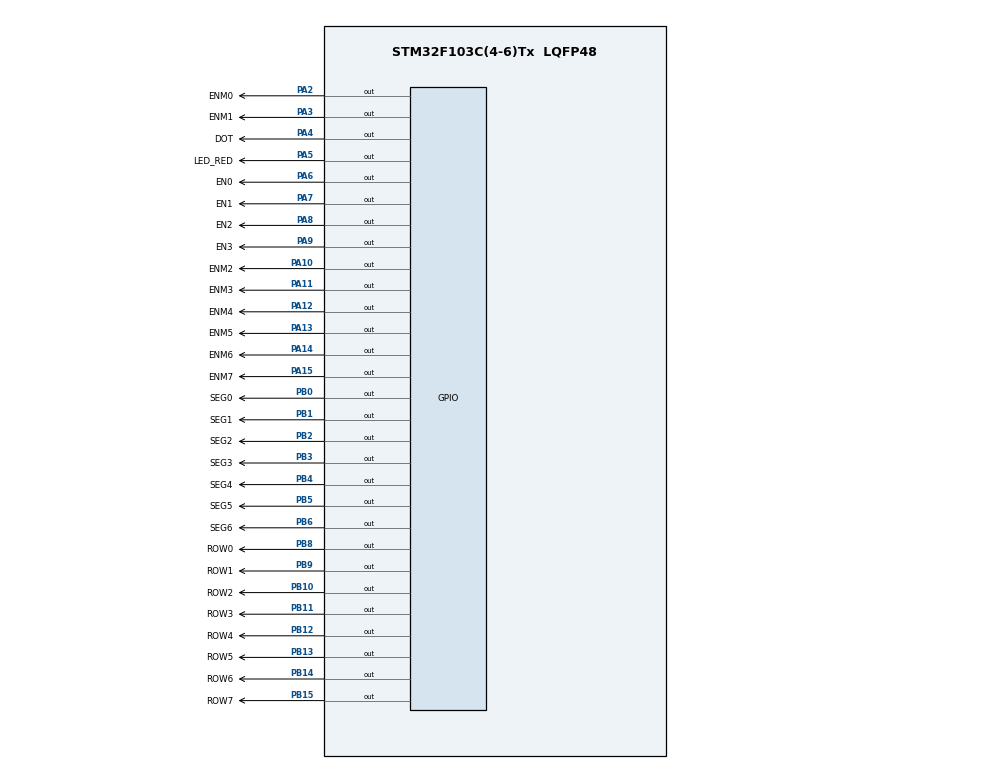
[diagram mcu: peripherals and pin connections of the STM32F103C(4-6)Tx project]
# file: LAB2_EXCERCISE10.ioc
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Mcu.Family=STM32F1
Mcu.Name=STM32F103C(4-6)Tx
Mcu.Package=LQFP48
NVIC.PriorityGroup=NVIC_PRIORITYGROUP_4
NVIC.TIM2_IRQn=true\:0\:0\:false\:false\:true\:true\:true
PA10.GPIO_Label=ENM2
PA10.Signal=GPIO_Output
PA11.GPIO_Label=ENM3
PA11.Signal=GPIO_Output
PA12.GPIO_Label=ENM4
PA12.Signal=GPIO_Output
PA13.GPIO_Label=ENM5
PA13.Signal=GPIO_Output
PA14.GPIO_Label=ENM6
PA14.Signal=GPIO_Output
PA15.GPIO_Label=ENM7
PA15.Signal=GPIO_Output
PA2.GPIO_Label=ENM0
PA2.Signal=GPIO_Output
PA3.GPIO_Label=ENM1
PA3.Signal=GPIO_Output
PA4.GPIO_Label=DOT
PA4.Signal=GPIO_Output
PA5.GPIO_Label=LED_RED
PA5.Signal=GPIO_Output
PA6.GPIO_Label=EN0
PA6.Signal=GPIO_Output
PA7.GPIO_Label=EN1
PA7.Signal=GPIO_Output
PA8.GPIO_Label=EN2
PA8.Signal=GPIO_Output
PA9.GPIO_Label=EN3
PA9.Signal=GPIO_Output
PB0.GPIO_Label=SEG0
PB0.Signal=GPIO_Output
PB1.GPIO_Label=SEG1
PB1.Signal=GPIO_Output
PB10.GPIO_Label=ROW2
PB10.Signal=GPIO_Output
PB11.GPIO_Label=ROW3
PB11.Signal=GPIO_Output
PB12.GPIO_Label=ROW4
PB12.Signal=GPIO_Output
PB13.GPIO_Label=ROW5
PB13.Signal=GPIO_Output
PB14.GPIO_Label=ROW6
PB14.Signal=GPIO_Output
PB15.GPIO_Label=ROW7
PB15.Signal=GPIO_Output
PB2.GPIO_Label=SEG2
PB2.Signal=GPIO_Output
PB3.GPIO_Label=SEG3
PB3.Signal=GPIO_Output
PB4.GPIO_Label=SEG4
PB4.Signal=GPIO_Output
PB5.GPIO_Label=SEG5
PB5.Signal=GPIO_Output
PB6.GPIO_Label=SEG6
PB6.Signal=GPIO_Output
PB8.GPIO_Label=ROW0
PB8.Signal=GPIO_Output
PB9.GPIO_Label=ROW1
PB9.Signal=GPIO_Output
ProjectManager.HeapSize=0x200
ProjectManager.StackSize=0x400
ProjectManager.TargetToolchain=STM32CubeIDE
RCC.APB1Freq_Value=8000000
RCC.APB2Freq_Value=8000000
TIM2.Period=9
TIM2.Prescaler=7999
VP_SYS_VS_ND.Mode=No_Debug
VP_TIM2_VS_ClockSourceINT.Mode=Internal
board=custom

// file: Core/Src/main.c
/* USER CODE BEGIN Header */
/**
  ******************************************************************************
  * @file           : main.c
  * @brief          : Main program body
  ******************************************************************************
  * @attention
  *
  * <h2><center>&copy; Copyright (c) 2025 STMicroelectronics.
  * All rights reserved.</center></h2>
  *
  * This software component is licensed by ST under BSD 3-Clause license,
  * the "License"; You may not use this file except in compliance with the
  * License. You may obtain a copy of the License at:
  *                        opensource.org/licenses/BSD-3-Clause
  *
  ******************************************************************************
  */
/* USER CODE END Header */
#include "main.h"

/* USER CODE BEGIN Includes */
#include "software_timer.h"
/* USER CODE END Includes */

TIM_HandleTypeDef htim2;

void SystemClock_Config(void);
static void MX_GPIO_Init(void);
static void MX_TIM2_Init(void);

/* USER CODE BEGIN 0 */
int led_buffer[4] = {1, 2, 3, 4};
int hour = 23, minute = 59, second = 55;
const int MAX_LED = 4;
const int MAX_LED_MATRIX = 8;
int index_led_matrix = 0;
int t=0;

uint8_t V[10] = {0xFF,0xFF,0xFF, 0xC0, 0x9F, 0x3F, 0x3F, 0x9F, 0xC0, 0xFF};

uint16_t list_ENM[8] = {ENM0_Pin, ENM1_Pin, ENM2_Pin, ENM3_Pin,
						ENM4_Pin, ENM5_Pin, ENM6_Pin, ENM7_Pin};
void updateLEDMatrix(int index){
	for(int i =0; i < MAX_LED_MATRIX; i++)
		HAL_GPIO_WritePin(GPIOA, list_ENM[i], GPIO_PIN_SET);
	HAL_GPIO_WritePin(GPIOA, list_ENM[index], GPIO_PIN_RESET);
	for(int i =0; i < MAX_LED_MATRIX; ++i){
			HAL_GPIO_WritePin(GPIOB, ROW0_Pin << i, (V[(index+t)%10] >> i) & 0x01);
	}
}

void display7SEG(int num) {
	char segNumber[10] = {0xC0, 0xF9, 0xA4, 0xB0, 0x99, 0x92, 0x82, 0xF8, 0x80, 0x90};
	for (int i = 0; i < 7; ++i) {
		HAL_GPIO_WritePin(GPIOB, GPIO_PIN_0 << i, (segNumber[num] >> i) & 1);
	}
	t = (t+1)% 24;
}

void update7SEG(int index){
 for(int i=0; i< MAX_LED; i++)
	 HAL_GPIO_WritePin(GPIOA, EN0_Pin << i, GPIO_PIN_SET);
 HAL_GPIO_WritePin(GPIOA, EN0_Pin << index, GPIO_PIN_RESET);
 display7SEG(led_buffer[index]);
}
void  updateClockBuffer(){
	led_buffer[0] = hour/10;
	led_buffer[1] = hour%10;
	led_buffer[2] = minute/10;
	led_buffer[3] = minute%10;
}

/* USER CODE END 0 */

int main(void)
{

  /* MCU Configuration--------------------------------------------------------*/

  /* Reset of all peripherals, Initializes the Flash interface and the Systick. */
  HAL_Init();

  /* Configure the system clock */
  SystemClock_Config();

  /* Initialize all configured peripherals */
  MX_GPIO_Init();
  MX_TIM2_Init();
  /* USER CODE BEGIN 2 */
  HAL_TIM_Base_Start_IT(&htim2);
  setTimer1(250);
    setTimer2(1000);
    setTimer3(100);
    int index_led = 0;

  	for(int i=0; i< MAX_LED; i++)
  		HAL_GPIO_WritePin(GPIOA, EN0_Pin << i, GPIO_PIN_SET);
  	for(int i =0; i < MAX_LED_MATRIX; i++)
  		HAL_GPIO_WritePin(GPIOA, list_ENM[i], GPIO_PIN_SET);
  	HAL_GPIO_WritePin(GPIOA, LED_RED_Pin, GPIO_PIN_SET);
  	HAL_GPIO_WritePin(GPIOA, DOT_Pin, GPIO_PIN_SET);
  /* USER CODE END 2 */

  /* Infinite loop */
  while (1)
  {
	  updateClockBuffer();
	  	  if(timer2_flag == 1){
	  		  //TODO
	  		  if (second >= 60){
	  			   second = 0;
	  			   minute++;
	  		   }
	  		  if (minute >= 60){
	  			  minute = 0;
	  			  hour++;
	  		  }
	  		  if(hour >= 24) hour = 0;
	  		  updateClockBuffer();
	  		  setTimer2(1000);
	  		  second++;
	  	  }
	  	  if(timer1_flag == 1){
	  		  setTimer1(250); // 4 led sáng xong là 1s
	  		  //TODO
	  		  HAL_GPIO_TogglePin(GPIOA, LED_RED_Pin);
	  		  update7SEG(index_led++);
	  		  // khi sáng hết 4 led thì DOT đảo
	  		  if(index_led == MAX_LED) HAL_GPIO_TogglePin(GPIOA, DOT_Pin);
	  		  index_led = index_led % MAX_LED;
	  	  }

	  	  if(timer3_flag == 1){
	  		  updateLEDMatrix(index_led_matrix++);
	  		  index_led_matrix = index_led_matrix % MAX_LED_MATRIX;
	  		  setTimer3(100);
	  	  }
  }
}

void SystemClock_Config(void)
{
  RCC_OscInitTypeDef RCC_OscInitStruct = {0};
  RCC_ClkInitTypeDef RCC_ClkInitStruct = {0};

  /** Initializes the RCC Oscillators according to the specified parameters
  * in the RCC_OscInitTypeDef structure.
  */
  RCC_OscInitStruct.OscillatorType = RCC_OSCILLATORTYPE_HSI;
  RCC_OscInitStruct.HSIState = RCC_HSI_ON;
  RCC_OscInitStruct.HSICalibrationValue = RCC_HSICALIBRATION_DEFAULT;
  RCC_OscInitStruct.PLL.PLLState = RCC_PLL_NONE;
  if (HAL_RCC_OscConfig(&RCC_OscInitStruct) != HAL_OK)
  {
    Error_Handler();
  }
  /** Initializes the CPU, AHB and APB buses clocks
  */
  RCC_ClkInitStruct.ClockType = RCC_CLOCKTYPE_HCLK|RCC_CLOCKTYPE_SYSCLK
                              |RCC_CLOCKTYPE_PCLK1|RCC_CLOCKTYPE_PCLK2;
  RCC_ClkInitStruct.SYSCLKSource = RCC_SYSCLKSOURCE_HSI;
  RCC_ClkInitStruct.AHBCLKDivider = RCC_SYSCLK_DIV1;
  RCC_ClkInitStruct.APB1CLKDivider = RCC_HCLK_DIV1;
  RCC_ClkInitStruct.APB2CLKDivider = RCC_HCLK_DIV1;

  if (HAL_RCC_ClockConfig(&RCC_ClkInitStruct, FLASH_LATENCY_0) != HAL_OK)
  {
    Error_Handler();
  }
}

static void MX_TIM2_Init(void)
{

  TIM_ClockConfigTypeDef sClockSourceConfig = {0};
  TIM_MasterConfigTypeDef sMasterConfig = {0};

  htim2.Instance = TIM2;
  htim2.Init.Prescaler = 7999;
  htim2.Init.CounterMode = TIM_COUNTERMODE_UP;
  htim2.Init.Period = 9;
  htim2.Init.ClockDivision = TIM_CLOCKDIVISION_DIV1;
  htim2.Init.AutoReloadPreload = TIM_AUTORELOAD_PRELOAD_DISABLE;
  if (HAL_TIM_Base_Init(&htim2) != HAL_OK)
  {
    Error_Handler();
  }
  sClockSourceConfig.ClockSource = TIM_CLOCKSOURCE_INTERNAL;
  if (HAL_TIM_ConfigClockSource(&htim2, &sClockSourceConfig) != HAL_OK)
  {
    Error_Handler();
  }
  sMasterConfig.MasterOutputTrigger = TIM_TRGO_RESET;
  sMasterConfig.MasterSlaveMode = TIM_MASTERSLAVEMODE_DISABLE;
  if (HAL_TIMEx_MasterConfigSynchronization(&htim2, &sMasterConfig) != HAL_OK)
  {
    Error_Handler();
  }

}

static void MX_GPIO_Init(void)
{
  GPIO_InitTypeDef GPIO_InitStruct = {0};

  /* GPIO Ports Clock Enable */
  __HAL_RCC_GPIOA_CLK_ENABLE();
  __HAL_RCC_GPIOB_CLK_ENABLE();

  /*Configure GPIO pin Output Level */
  HAL_GPIO_WritePin(GPIOA, ENM0_Pin|ENM1_Pin|DOT_Pin|LED_RED_Pin
                          |EN0_Pin|EN1_Pin|EN2_Pin|EN3_Pin
                          |ENM2_Pin|ENM3_Pin|ENM4_Pin|ENM5_Pin
                          |ENM6_Pin|ENM7_Pin, GPIO_PIN_RESET);

  /*Configure GPIO pin Output Level */
  HAL_GPIO_WritePin(GPIOB, SEG0_Pin|SEG1_Pin|SEG2_Pin|ROW2_Pin
                          |ROW3_Pin|ROW4_Pin|ROW5_Pin|ROW6_Pin
                          |ROW7_Pin|SEG3_Pin|SEG4_Pin|SEG5_Pin
                          |SEG6_Pin|ROW0_Pin|ROW1_Pin, GPIO_PIN_RESET);

  /*Configure GPIO pins : ENM0_Pin ENM1_Pin DOT_Pin LED_RED_Pin
                           EN0_Pin EN1_Pin EN2_Pin EN3_Pin
                           ENM2_Pin ENM3_Pin ENM4_Pin ENM5_Pin
                           ENM6_Pin ENM7_Pin */
  GPIO_InitStruct.Pin = ENM0_Pin|ENM1_Pin|DOT_Pin|LED_RED_Pin
                          |EN0_Pin|EN1_Pin|EN2_Pin|EN3_Pin
                          |ENM2_Pin|ENM3_Pin|ENM4_Pin|ENM5_Pin
                          |ENM6_Pin|ENM7_Pin;
  GPIO_InitStruct.Mode = GPIO_MODE_OUTPUT_PP;
  GPIO_InitStruct.Pull = GPIO_NOPULL;
  GPIO_InitStruct.Speed = GPIO_SPEED_FREQ_LOW;
  HAL_GPIO_Init(GPIOA, &GPIO_InitStruct);

  /*Configure GPIO pins : SEG0_Pin SEG1_Pin SEG2_Pin ROW2_Pin
                           ROW3_Pin ROW4_Pin ROW5_Pin ROW6_Pin
                           ROW7_Pin SEG3_Pin SEG4_Pin SEG5_Pin
                           SEG6_Pin ROW0_Pin ROW1_Pin */
  GPIO_InitStruct.Pin = SEG0_Pin|SEG1_Pin|SEG2_Pin|ROW2_Pin
                          |ROW3_Pin|ROW4_Pin|ROW5_Pin|ROW6_Pin
                          |ROW7_Pin|SEG3_Pin|SEG4_Pin|SEG5_Pin
                          |SEG6_Pin|ROW0_Pin|ROW1_Pin;
  GPIO_InitStruct.Mode = GPIO_MODE_OUTPUT_PP;
  GPIO_InitStruct.Pull = GPIO_NOPULL;
  GPIO_InitStruct.Speed = GPIO_SPEED_FREQ_LOW;
  HAL_GPIO_Init(GPIOB, &GPIO_InitStruct);

}

/* USER CODE BEGIN 4 */
void HAL_TIM_PeriodElapsedCallback(TIM_HandleTypeDef *htim){
	timerRun();
}
/* USER CODE END 4 */

void Error_Handler(void)
{
  __disable_irq();
  while (1)
  {
  }
}

/************************ (C) COPYRIGHT STMicroelectronics *****END OF FILE****/
